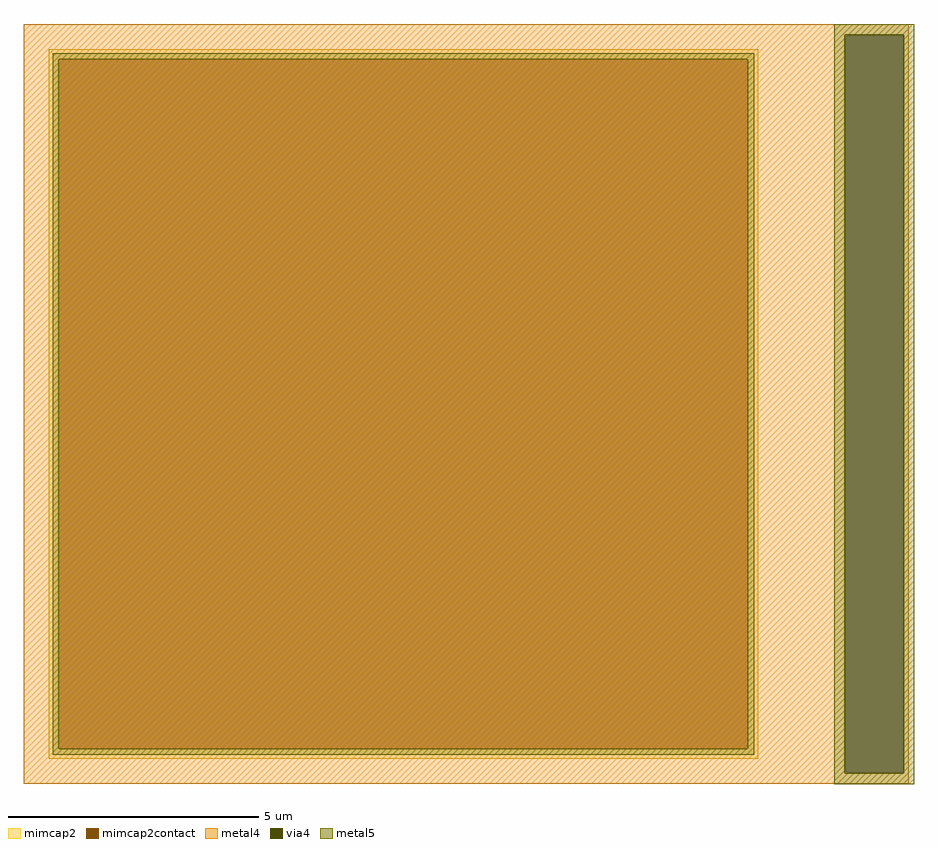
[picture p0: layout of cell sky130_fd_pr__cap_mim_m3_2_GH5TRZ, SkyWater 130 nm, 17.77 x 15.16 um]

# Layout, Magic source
magic
tech sky130A
magscale 1 2
<< metal4 >>
rect -1766 1474 1766 1515
rect -1766 -1474 1510 1474
rect 1746 -1474 1766 1474
rect -1766 -1515 1766 -1474
<< via4 >>
rect 1510 -1474 1746 1474
<< mimcap2 >>
rect -1666 1375 1164 1415
rect -1666 -1375 -1626 1375
rect 1124 -1375 1164 1375
rect -1666 -1415 1164 -1375
<< mimcap2contact >>
rect -1626 -1375 1124 1375
<< metal5 >>
rect 1468 1474 1788 1516
rect -1650 1375 1148 1399
rect -1650 -1375 -1626 1375
rect 1124 -1375 1148 1375
rect -1650 -1399 1148 -1375
rect 1468 -1474 1510 1474
rect 1746 -1474 1788 1474
rect 1468 -1516 1788 -1474
<< properties >>
string FIXED_BBOX -1766 -1515 1264 1515
string gencell sky130_fd_pr__cap_mim_m3_2
string library sky130
string parameters w 14.153 l 14.153 val 411.4 carea 2.00 cperi 0.19 nx 1 ny 1 dummy 0 square 1 lmin 2.00 wmin 2.00 lmax 30.0 wmax 30.0 dc 0 bconnect 1 tconnect 1 ccov 100
<< end >>
